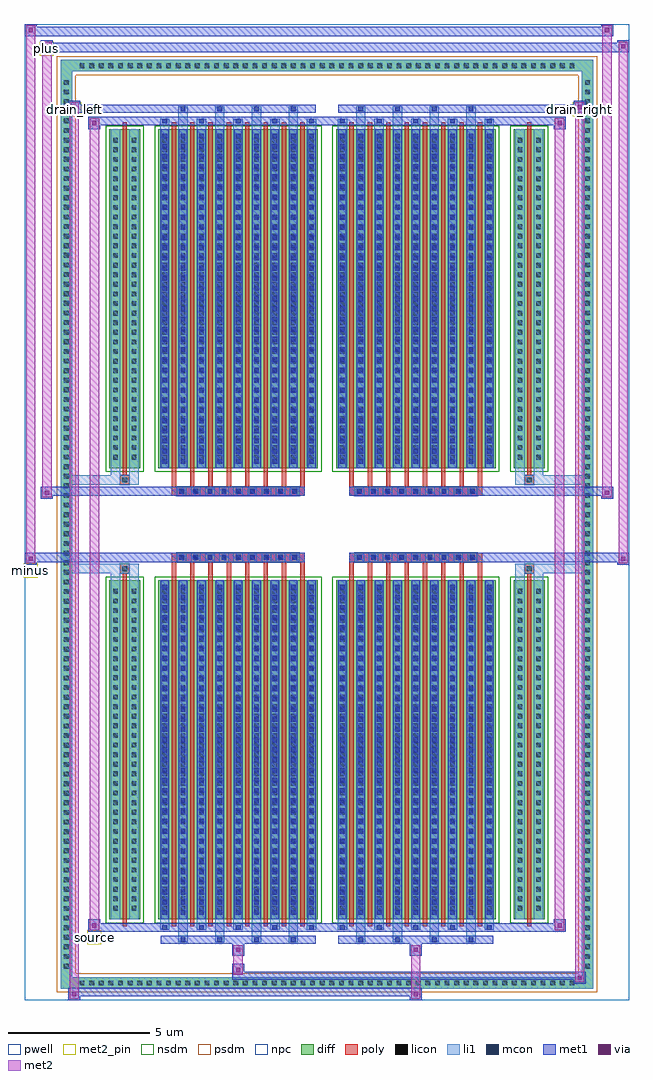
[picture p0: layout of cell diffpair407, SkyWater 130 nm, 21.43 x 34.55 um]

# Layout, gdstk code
import gdstk
lib = gdstk.Library(unit=1e-6, precision=5e-09)
def R(c, l, rs):  # rectangles x0, y0, x1, y1
    for r in rs: c.add(gdstk.rectangle(r[:2], r[2:], *l))
def A(c, l, x, y, w, h, nx, ny, dx, dy):  # array of equal rectangles
    R(c, l, [(x+i*dx, y+j*dy, x+i*dx+w, y+j*dy+h) for i in range(nx) for j in range(ny)])
def P(c, l, *ps):  # polygons
    for p in ps: c.add(gdstk.Polygon(p, *l))
pwell = (64, 44)
diff = (65, 20)
poly = (66, 20)
licon = (66, 44)
li1 = (67, 20)
mcon = (67, 44)
met1 = (68, 20)
via = (68, 44)
met2_pin = (69, 16)
met2 = (69, 20)
nsdm = (93, 44)
psdm = (94, 20)
npc = (95, 20)

diffpair407 = lib.new_cell('diffpair407')
R(diffpair407, pwell, [(-10.7,-16.84,10.7,17.71), (-8.02,-15.03,-0.01,-0.805), (0.01,-15.03,8.02,-0.805), (-8.02,0.805,-0.01,15.03), (0.01,0.805,8.02,15.03)])
A(diffpair407, diff, -8.875, -16.44, 0.41, 0.41, 52, 2, 0.34, 32.47)
A(diffpair407, diff, -9.43, -15.845, 0.41, 0.41, 1, 93, 0, 0.34)
A(diffpair407, diff, 9.02, -15.845, 0.41, 0.41, 1, 93, 0, 0.34)
R(diffpair407, diff, [(-8.875,-16.44,8.875,-16.03), (-9.43,-15.845,-9.02,15.845), (9.02,-15.845,9.43,15.845), (-7.71,-13.985,-6.61,-1.985), (-5.97,-13.985,-0.32,-1.985), (0.32,-13.985,5.97,-1.985), (6.61,-13.985,7.71,-1.985), (-7.71,1.985,-6.61,13.985), (-5.97,1.985,-0.32,13.985), (0.32,1.985,5.97,13.985), (6.61,1.985,7.71,13.985), (-8.875,16.03,8.875,16.44)])
P(diffpair407, diff, [(9.43,16.44),(-9.43,16.44),(-9.43,-16.03),(-9.02,-16.03),(-9.02,16.03),(9.02,16.03),(9.02,-16.03),(-9.02,-16.03),(-9.43,-16.03),(-9.43,-16.44),(9.43,-16.44)])
A(diffpair407, poly, -5.495, -14.235, 0.15, 12.5, 8, 2, 0.65, 15.97)
A(diffpair407, poly, 0.795, -14.235, 0.15, 12.5, 8, 2, 0.65, 15.97)
A(diffpair407, poly, -5.495, -1.735, 0.15, 0.4, 8, 2, 0.65, 3.07)
A(diffpair407, poly, 0.795, -1.735, 0.15, 0.4, 8, 2, 0.65, 3.07)
A(diffpair407, poly, -5.31, -1.335, 0.33, 0.33, 9, 2, 0.5, 2.34)
A(diffpair407, poly, 0.98, -1.335, 0.33, 0.33, 9, 2, 0.5, 2.34)
R(diffpair407, poly, [(-7.235,-14.235,-7.085,-1.735), (7.085,-14.235,7.235,-1.735), (-7.325,-1.735,-6.995,-1.405), (-7.325,-1.735,-6.995,-1.405), (6.995,-1.735,7.325,-1.405), (6.995,-1.735,7.325,-1.405), (-5.495,-1.335,-0.795,-1.005), (0.795,-1.335,5.495,-1.005), (-5.495,1.005,-0.795,1.335), (0.795,1.005,5.495,1.335), (-7.325,1.405,-6.995,1.735), (-7.325,1.405,-6.995,1.735), (6.995,1.405,7.325,1.735), (6.995,1.405,7.325,1.735), (-7.235,1.735,-7.085,14.235), (7.085,1.735,7.235,14.235)])
A(diffpair407, licon, -8.755, -16.32, 0.17, 0.17, 52, 2, 0.34, 32.47)
A(diffpair407, licon, -9.31, -15.725, 0.17, 0.17, 1, 93, 0, 0.34)
A(diffpair407, licon, 9.14, -15.725, 0.17, 0.17, 1, 93, 0, 0.34)
A(diffpair407, licon, -7.57, -13.68, 0.17, 0.17, 1, 34, 0, 0.34)
A(diffpair407, licon, -6.92, -13.68, 0.17, 0.17, 1, 34, 0, 0.34)
A(diffpair407, licon, -5.83, -13.68, 0.17, 0.17, 9, 34, 0.65, 0.34)
A(diffpair407, licon, 0.46, -13.68, 0.17, 0.17, 9, 34, 0.65, 0.34)
A(diffpair407, licon, 6.75, -13.68, 0.17, 0.17, 1, 34, 0, 0.34)
A(diffpair407, licon, 7.4, -13.68, 0.17, 0.17, 1, 34, 0, 0.34)
A(diffpair407, licon, -5.23, -1.255, 0.17, 0.17, 9, 2, 0.5, 2.34)
A(diffpair407, licon, 1.06, -1.255, 0.17, 0.17, 9, 2, 0.5, 2.34)
A(diffpair407, licon, -7.57, 2.29, 0.17, 0.17, 1, 34, 0, 0.34)
A(diffpair407, licon, -6.92, 2.29, 0.17, 0.17, 1, 34, 0, 0.34)
A(diffpair407, licon, -5.83, 2.29, 0.17, 0.17, 9, 34, 0.65, 0.34)
A(diffpair407, licon, 0.46, 2.29, 0.17, 0.17, 9, 34, 0.65, 0.34)
A(diffpair407, licon, 6.75, 2.29, 0.17, 0.17, 1, 34, 0, 0.34)
A(diffpair407, licon, 7.4, 2.29, 0.17, 0.17, 1, 34, 0, 0.34)
R(diffpair407, licon, [(-7.245,-1.655,-7.075,-1.485), (7.075,-1.655,7.245,-1.485), (-7.245,1.485,-7.075,1.655), (7.075,1.485,7.245,1.655)])
A(diffpair407, li1, -8.835, -16.4, 0.33, 0.33, 52, 2, 0.34, 32.47)
A(diffpair407, li1, -9.39, -15.805, 0.33, 0.33, 1, 93, 0, 0.34)
A(diffpair407, li1, 9.06, -15.805, 0.33, 0.33, 1, 93, 0, 0.34)
A(diffpair407, li1, -5.26, -14.79, 0.33, 0.805, 4, 2, 1.3, 28.775)
A(diffpair407, li1, -5.18, -14.79, 0.17, 0.17, 4, 2, 1.3, 29.41)
A(diffpair407, li1, 1.03, -14.79, 0.33, 0.805, 4, 2, 1.3, 28.775)
A(diffpair407, li1, 1.11, -14.79, 0.17, 0.17, 4, 2, 1.3, 29.41)
A(diffpair407, li1, -5.91, -14.36, 0.33, 0.375, 5, 2, 1.3, 28.345)
A(diffpair407, li1, -5.83, -14.36, 0.17, 0.17, 5, 2, 1.3, 28.55)
A(diffpair407, li1, 0.38, -14.36, 0.33, 0.375, 5, 2, 1.3, 28.345)
A(diffpair407, li1, 0.46, -14.36, 0.17, 0.17, 5, 2, 1.3, 28.55)
A(diffpair407, li1, -5.91, -13.985, 0.33, 12, 9, 2, 0.65, 15.97)
A(diffpair407, li1, 0.38, -13.985, 0.33, 12, 9, 2, 0.65, 15.97)
A(diffpair407, li1, -5.83, -13.83, 0.17, 0.17, 9, 33, 0.65, 0.36)
A(diffpair407, li1, -5.83, -13.83, 0.17, 11.69, 9, 2, 0.65, 15.97)
A(diffpair407, li1, 0.46, -13.83, 0.17, 0.17, 9, 33, 0.65, 0.36)
A(diffpair407, li1, 0.46, -13.83, 0.17, 11.69, 9, 2, 0.65, 15.97)
A(diffpair407, li1, -7.65, -13.76, 0.33, 0.33, 1, 34, 0, 0.34)
A(diffpair407, li1, -7, -13.76, 0.33, 0.33, 1, 34, 0, 0.34)
A(diffpair407, li1, -5.91, -13.76, 0.33, 0.33, 9, 34, 0.65, 0.34)
A(diffpair407, li1, 0.38, -13.76, 0.33, 0.33, 9, 34, 0.65, 0.34)
A(diffpair407, li1, 6.67, -13.76, 0.33, 0.33, 1, 34, 0, 0.34)
A(diffpair407, li1, 7.32, -13.76, 0.33, 0.33, 1, 34, 0, 0.34)
A(diffpair407, li1, -5.31, -1.335, 0.33, 0.33, 9, 2, 0.5, 2.34)
A(diffpair407, li1, 0.98, -1.335, 0.33, 0.33, 9, 2, 0.5, 2.34)
A(diffpair407, li1, -5.83, 2.14, 0.17, 0.17, 9, 33, 0.65, 0.36)
A(diffpair407, li1, 0.46, 2.14, 0.17, 0.17, 9, 33, 0.65, 0.36)
A(diffpair407, li1, -7.65, 2.21, 0.33, 0.33, 1, 34, 0, 0.34)
A(diffpair407, li1, -7, 2.21, 0.33, 0.33, 1, 34, 0, 0.34)
A(diffpair407, li1, -5.91, 2.21, 0.33, 0.33, 9, 34, 0.65, 0.34)
A(diffpair407, li1, 0.38, 2.21, 0.33, 0.33, 9, 34, 0.65, 0.34)
A(diffpair407, li1, 6.67, 2.21, 0.33, 0.33, 1, 34, 0, 0.34)
A(diffpair407, li1, 7.32, 2.21, 0.33, 0.33, 1, 34, 0, 0.34)
R(diffpair407, li1, [(-9.43,-16.44,-9.02,-16.03), (-9.43,-16.44,-9.02,-16.03), (-9.02,-16.44,9.02,-16.03), (9.02,-16.44,9.43,-16.03), (9.02,-16.44,9.43,-16.03), (-9.43,-16.03,-9.02,16.03), (9.02,-16.03,9.43,16.03), (-7.65,-13.985,-7.32,-1.985), (-7,-13.985,-6.67,-1.985), (6.67,-13.985,7,-1.985), (7.32,-13.985,7.65,-1.985), (-7.65,-1.985,-7.32,-1.405), (-7,-1.985,-6.67,-1.405), (6.67,-1.985,7,-1.405), (7.32,-1.985,7.65,-1.405), (-9.43,-1.735,-7.325,-1.405), (-7.65,-1.735,-7.325,-1.405), (-7.325,-1.735,-6.995,-1.405), (-6.995,-1.735,-6.67,-1.405), (6.67,-1.735,6.995,-1.405), (6.995,-1.735,7.325,-1.405), (6.995,-1.735,9.43,-1.405), (7.325,-1.735,7.65,-1.405), (-9.43,1.405,-7.325,1.735), (-7.65,1.405,-7.325,1.735), (-7.65,1.405,-7.32,1.985), (-7.325,1.405,-6.995,1.735), (-7,1.405,-6.67,1.985), (-6.995,1.405,-6.67,1.735), (6.67,1.405,6.995,1.735), (6.67,1.405,7,1.985), (6.995,1.405,7.325,1.735), (6.995,1.405,9.43,1.735), (7.32,1.405,7.65,1.985), (7.325,1.405,7.65,1.735), (-7.65,1.985,-7.32,13.985), (-7,1.985,-6.67,13.985), (6.67,1.985,7,13.985), (7.32,1.985,7.65,13.985), (-9.43,16.03,-9.02,16.44), (-9.43,16.03,-9.02,16.44), (-9.02,16.03,9.02,16.44), (9.02,16.03,9.43,16.44), (9.02,16.03,9.43,16.44)])
A(diffpair407, mcon, -5.18, -14.79, 0.17, 0.17, 4, 2, 1.3, 29.41)
A(diffpair407, mcon, 1.11, -14.79, 0.17, 0.17, 4, 2, 1.3, 29.41)
A(diffpair407, mcon, -5.83, -14.36, 0.17, 0.17, 5, 2, 1.3, 28.55)
A(diffpair407, mcon, 0.46, -14.36, 0.17, 0.17, 5, 2, 1.3, 28.55)
A(diffpair407, mcon, -5.83, -13.83, 0.17, 0.17, 9, 33, 0.65, 0.36)
A(diffpair407, mcon, 0.46, -13.83, 0.17, 0.17, 9, 33, 0.65, 0.36)
A(diffpair407, mcon, -5.23, -1.255, 0.17, 0.17, 9, 2, 0.5, 2.34)
A(diffpair407, mcon, 1.06, -1.255, 0.17, 0.17, 9, 2, 0.5, 2.34)
A(diffpair407, mcon, -5.83, 2.14, 0.17, 0.17, 9, 33, 0.65, 0.36)
A(diffpair407, mcon, 0.46, 2.14, 0.17, 0.17, 9, 33, 0.65, 0.36)
A(diffpair407, met1, -5.24, -14.85, 0.29, 0.29, 4, 2, 1.3, 29.41)
A(diffpair407, met1, 1.05, -14.85, 0.29, 0.29, 4, 2, 1.3, 29.41)
A(diffpair407, met1, -5.89, -14.42, 0.29, 0.29, 5, 2, 1.3, 28.55)
A(diffpair407, met1, 0.4, -14.42, 0.29, 0.29, 5, 2, 1.3, 28.55)
A(diffpair407, met1, -5.89, -13.985, 0.29, 12, 9, 2, 0.65, 15.97)
A(diffpair407, met1, 0.4, -13.985, 0.29, 12, 9, 2, 0.65, 15.97)
A(diffpair407, met1, -5.89, -13.89, 0.29, 0.29, 9, 33, 0.65, 0.36)
A(diffpair407, met1, 0.4, -13.89, 0.29, 0.29, 9, 33, 0.65, 0.36)
A(diffpair407, met1, -5.29, -1.315, 0.29, 0.29, 9, 2, 0.5, 2.34)
A(diffpair407, met1, 1, -1.315, 0.29, 0.29, 9, 2, 0.5, 2.34)
A(diffpair407, met1, -5.89, 2.08, 0.29, 0.29, 9, 33, 0.65, 0.36)
A(diffpair407, met1, 0.4, 2.08, 0.29, 0.29, 9, 33, 0.65, 0.36)
R(diffpair407, met1, [(-9.16,-16.84,-8.73,-16.41), (2.93,-16.84,3.36,-16.41), (-9.16,-16.7,3.36,-16.41), (8.73,-16.27,9.16,-15.84), (-3.36,-16.13,9.16,-15.84), (-3.36,-15.99,-2.93,-15.56), (-3.36,-15.28,-2.93,-14.85), (2.93,-15.28,3.36,-14.85), (-5.89,-14.85,-0.4,-14.56), (0.4,-14.85,5.89,-14.56), (-8.45,-14.42,-8.02,-13.99), (-8.45,-14.42,-5.89,-14.13), (-5.89,-14.42,-0.4,-14.13), (-0.4,-14.42,0.4,-14.13), (0.4,-14.42,5.89,-14.13), (5.89,-14.42,8.45,-14.13), (8.02,-14.42,8.45,-13.99), (-10.7,-1.435,-10.27,-1.005), (10.27,-1.435,10.7,-1.005), (-10.7,-1.335,-0.795,-1.005), (-5.495,-1.335,-0.795,-1.005), (0.795,-1.335,5.495,-1.005), (0.795,-1.335,10.7,-1.005), (-10.13,0.905,-9.7,1.335), (9.7,0.905,10.13,1.335), (-10.13,1.005,-5.495,1.335), (-5.495,1.005,-0.795,1.335), (0.795,1.005,5.495,1.335), (5.495,1.005,10.13,1.335), (-8.45,13.99,-8.02,14.42), (8.02,13.99,8.45,14.42), (-8.45,14.13,-5.89,14.42), (-5.89,14.13,-0.4,14.42), (-0.4,14.13,0.4,14.42), (0.4,14.13,5.89,14.42), (5.89,14.13,8.45,14.42), (-9.16,14.56,-8.73,14.99), (-9.16,14.56,-5.89,14.85), (-5.89,14.56,-0.4,14.85), (0.4,14.56,5.89,14.85), (5.89,14.56,9.16,14.85), (8.73,14.56,9.16,14.99), (-10.13,16.71,-9.7,17.14), (-10.13,16.71,-8.02,17.04), (-8.02,16.71,8.02,17.04), (8.02,16.71,10.7,17.04), (10.27,16.71,10.7,17.14), (-10.7,17.28,-10.27,17.71), (-10.7,17.28,-8.02,17.61), (-8.02,17.28,8.02,17.61), (8.02,17.28,10.13,17.61), (9.7,17.28,10.13,17.71)])
R(diffpair407, via, [(-9.02,-16.7,-8.87,-16.55), (3.07,-16.7,3.22,-16.55), (8.87,-16.13,9.02,-15.98), (-3.22,-15.85,-3.07,-15.7), (-3.22,-15.14,-3.07,-14.99), (3.07,-15.14,3.22,-14.99), (-8.31,-14.28,-8.16,-14.13), (8.16,-14.28,8.31,-14.13), (-10.56,-1.295,-10.41,-1.145), (10.41,-1.295,10.56,-1.145), (-9.99,1.045,-9.84,1.195), (9.84,1.045,9.99,1.195), (-8.31,14.13,-8.16,14.28), (8.16,14.13,8.31,14.28), (-9.02,14.7,-8.87,14.85), (8.87,14.7,9.02,14.85), (-9.99,16.85,-9.84,17), (10.41,16.85,10.56,17), (-10.56,17.42,-10.41,17.57), (9.84,17.42,9.99,17.57)])
R(diffpair407, met2_pin, [(-8.485,-14.87,-7.985,-14.37), (-10.735,-1.885,-10.235,-1.385), (-9.195,14.44,-8.695,14.94), (8.695,14.44,9.195,14.94), (-10.165,16.59,-9.665,17.09)])
R(diffpair407, met2, [(-9.11,-16.79,-8.78,-16.46), (-9.11,-16.79,-8.78,14.94), (2.98,-16.79,3.31,-16.46), (2.98,-16.46,3.31,-15.23), (8.78,-16.22,9.11,-15.89), (8.78,-16.22,9.11,14.94), (-3.31,-15.94,-2.98,-15.61), (-3.31,-15.61,-2.98,-15.23), (-3.31,-15.23,-2.98,-14.9), (2.98,-15.23,3.31,-14.9), (-8.4,-14.37,-8.07,-14.04), (-8.4,-14.37,-8.07,14.37), (8.07,-14.37,8.4,-14.04), (8.07,-14.37,8.4,14.37), (-10.65,-1.385,-10.32,-1.055), (-10.65,-1.385,-10.32,17.66), (10.32,-1.385,10.65,-1.055), (10.32,-1.385,10.65,17.09), (-10.08,0.955,-9.75,1.285), (-10.08,0.955,-9.75,17.09), (9.75,0.955,10.08,1.285), (9.75,0.955,10.08,17.66), (-8.4,14.04,-8.07,14.37), (8.07,14.04,8.4,14.37), (-9.11,14.61,-8.78,14.94), (8.78,14.61,9.11,14.94), (-10.08,16.76,-9.75,17.09), (10.32,16.76,10.65,17.09), (-10.65,17.33,-10.32,17.66), (9.75,17.33,10.08,17.66)])
P(diffpair407, met2, [(10.65,-1.385),(10.65,-1.385),(10.65,-1.055),(10.65,-1.055)],
  [(10.65,16.76),(10.65,16.76),(10.65,17.09),(10.65,17.09)],
  [(-10.32,-1.385),(-10.32,-1.385),(-10.32,-1.055),(-10.32,-1.055)],
  [(-10.32,17.33),(-10.32,17.33),(-10.32,17.66),(-10.32,17.66)],
  [(10.08,0.955),(10.08,0.955),(10.08,1.285),(10.08,1.285)],
  [(10.08,17.33),(10.08,17.33),(10.08,17.66),(10.08,17.66)],
  [(-9.75,0.955),(-9.75,0.955),(-9.75,1.285),(-9.75,1.285)],
  [(-9.75,16.76),(-9.75,16.76),(-9.75,17.09),(-9.75,17.09)],
  [(-8.78,-16.79),(-8.78,-16.79),(-8.78,-16.46),(-8.78,-16.46)],
  [(-8.78,14.61),(-8.78,14.61),(-8.78,14.94),(-8.78,14.94)],
  [(9.11,-16.22),(9.11,-16.22),(9.11,-15.89),(9.11,-15.89)],
  [(9.11,14.61),(9.11,14.61),(9.11,14.94),(9.11,14.94)],
  [(-8.07,-14.37),(-8.07,-14.37),(-8.07,-14.04),(-8.07,-14.04)],
  [(-8.07,14.04),(-8.07,14.04),(-8.07,14.37),(-8.07,14.37)],
  [(8.4,-14.37),(8.4,-14.37),(8.4,-14.04),(8.4,-14.04)],
  [(8.4,14.04),(8.4,14.04),(8.4,14.37),(8.4,14.37)])
R(diffpair407, nsdm, [(-7.84,-14.115,-6.48,-1.855), (-6.1,-14.115,-0.19,-1.855), (0.19,-14.115,6.1,-1.855), (6.48,-14.115,7.84,-1.855), (-7.84,1.855,-6.48,14.115), (-6.1,1.855,-0.19,14.115), (0.19,1.855,6.1,14.115), (6.48,1.855,7.84,14.115)])
P(diffpair407, psdm, [(9.56,16.57),(-9.56,16.57),(-9.56,-15.9),(-8.89,-15.9),(-8.89,15.9),(8.89,15.9),(8.89,-15.9),(-8.89,-15.9),(-9.56,-15.9),(-9.56,-16.57),(9.56,-16.57)])
A(diffpair407, npc, -5.33, -1.355, 0.37, 0.37, 9, 2, 0.5, 2.34)
A(diffpair407, npc, 0.96, -1.355, 0.37, 0.37, 9, 2, 0.5, 2.34)
R(diffpair407, npc, [(-7.345,-1.755,-6.975,-1.385), (6.975,-1.755,7.345,-1.385), (-5.33,-1.355,-4.46,-0.985), (-5.33,-1.355,-4.46,-0.985), (-4.83,-1.355,-3.96,-0.985), (-4.83,-1.355,-3.96,-0.985), (-4.33,-1.355,-3.46,-0.985), (-4.33,-1.355,-3.46,-0.985), (-3.83,-1.355,-2.96,-0.985), (-3.83,-1.355,-2.96,-0.985), (-3.33,-1.355,-2.46,-0.985), (-3.33,-1.355,-2.46,-0.985), (-2.83,-1.355,-1.96,-0.985), (-2.83,-1.355,-1.96,-0.985), (-2.33,-1.355,-1.46,-0.985), (-2.33,-1.355,-1.46,-0.985), (-1.83,-1.355,-0.96,-0.985), (-1.83,-1.355,-0.96,-0.985), (0.96,-1.355,1.83,-0.985), (0.96,-1.355,1.83,-0.985), (1.46,-1.355,2.33,-0.985), (1.46,-1.355,2.33,-0.985), (1.96,-1.355,2.83,-0.985), (1.96,-1.355,2.83,-0.985), (2.46,-1.355,3.33,-0.985), (2.46,-1.355,3.33,-0.985), (2.96,-1.355,3.83,-0.985), (2.96,-1.355,3.83,-0.985), (3.46,-1.355,4.33,-0.985), (3.46,-1.355,4.33,-0.985), (3.96,-1.355,4.83,-0.985), (3.96,-1.355,4.83,-0.985), (4.46,-1.355,5.33,-0.985), (4.46,-1.355,5.33,-0.985), (-5.33,0.985,-4.46,1.355), (-5.33,0.985,-4.46,1.355), (-4.83,0.985,-3.96,1.355), (-4.83,0.985,-3.96,1.355), (-4.33,0.985,-3.46,1.355), (-4.33,0.985,-3.46,1.355), (-3.83,0.985,-2.96,1.355), (-3.83,0.985,-2.96,1.355), (-3.33,0.985,-2.46,1.355), (-3.33,0.985,-2.46,1.355), (-2.83,0.985,-1.96,1.355), (-2.83,0.985,-1.96,1.355), (-2.33,0.985,-1.46,1.355), (-2.33,0.985,-1.46,1.355), (-1.83,0.985,-0.96,1.355), (-1.83,0.985,-0.96,1.355), (0.96,0.985,1.83,1.355), (0.96,0.985,1.83,1.355), (1.46,0.985,2.33,1.355), (1.46,0.985,2.33,1.355), (1.96,0.985,2.83,1.355), (1.96,0.985,2.83,1.355), (2.46,0.985,3.33,1.355), (2.46,0.985,3.33,1.355), (2.96,0.985,3.83,1.355), (2.96,0.985,3.83,1.355), (3.46,0.985,4.33,1.355), (3.46,0.985,4.33,1.355), (3.96,0.985,4.83,1.355), (3.96,0.985,4.83,1.355), (4.46,0.985,5.33,1.355), (4.46,0.985,5.33,1.355), (-7.345,1.385,-6.975,1.755), (6.975,1.385,7.345,1.755)])
diffpair407.add(gdstk.Label('minus', (-10.485,-1.635), layer=69, texttype=5))
diffpair407.add(gdstk.Label('drain_right', (8.945,14.69), layer=69, texttype=5))
diffpair407.add(gdstk.Label('drain_left', (-8.945,14.69), layer=69, texttype=5))
diffpair407.add(gdstk.Label('source', (-8.235,-14.62), layer=69, texttype=5))
diffpair407.add(gdstk.Label('plus', (-9.915,16.84), layer=69, texttype=5))

lib.write_gds('diffpair407.gds')
